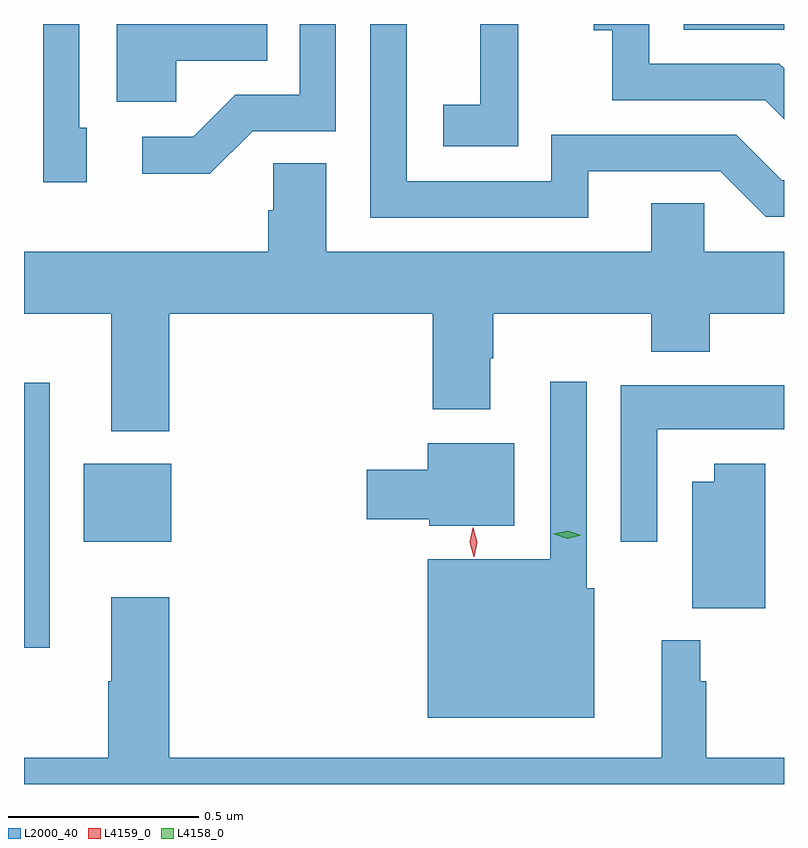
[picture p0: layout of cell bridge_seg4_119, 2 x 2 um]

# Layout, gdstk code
import gdstk
lib = gdstk.Library(unit=1e-6, precision=1e-09)
def R(c, l, rs):  # rectangles x0, y0, x1, y1
    for r in rs: c.add(gdstk.rectangle(r[:2], r[2:], *l))
def P(c, l, *ps):  # polygons
    for p in ps: c.add(gdstk.Polygon(p, *l))
L2000_40 = (2000, 40)
L4158_0 = (4158, 0)
L4159_0 = (4159, 0)

bridge_seg4_119 = lib.new_cell('bridge_seg4_119')
R(bridge_seg4_119, L2000_40, [(353.8,773.298,353.868,773.995), (353.957,773.576,354.187,773.782), (355.536,774.924,355.8,774.939)])
P(bridge_seg4_119, L2000_40, [(355.8,774.822),(355.788,774.834),(355.446,774.834),(355.446,774.939),(355.299,774.939),(355.299,774.923),(355.348,774.923),(355.348,774.738),(355.751,774.738),(355.8,774.689)],
  [(354.201,774.842),(354.44,774.842),(354.44,774.939),(354.044,774.939),(354.044,774.734),(354.201,774.734)],
  [(354.402,774.657),(354.621,774.657),(354.621,774.939),(354.525,774.939),(354.525,774.753),(354.356,774.753),(354.245,774.642),(354.111,774.642),(354.111,774.545),(354.289,774.545)],
  [(355.285,774.552),(355.632,774.552),(355.752,774.432),(355.8,774.432),(355.8,774.528),(355.794,774.528),(355.674,774.648),(355.188,774.648),(355.188,774.525),(354.807,774.525),(354.807,774.939),(354.711,774.939),(354.711,774.429),(355.285,774.429)],
  [(355.101,774.823),(355.1,774.823),(355.1,774.939),(355.001,774.939),(355.001,774.727),(354.903,774.727),(354.903,774.617),(355.101,774.617)],
  [(353.965,774.666),(353.946,774.666),(353.946,774.939),(353.85,774.939),(353.85,774.522),(353.965,774.522)],
  [(354.182,774.176),(354.875,774.176),(354.875,773.925),(355.027,773.925),(355.027,774.059),(355.035,774.059),(355.035,774.176),(355.45,774.176),(355.45,774.077),(355.605,774.077),(355.605,774.176),(355.8,774.176),(355.8,774.34),(355.59,774.34),(355.59,774.467),(355.451,774.467),(355.451,774.34),(354.595,774.34),(354.595,774.572),(354.456,774.572),(354.456,774.449),(354.443,774.449),(354.443,774.34),(353.8,774.34),(353.8,774.176),(354.029,774.176),(354.029,773.867),(354.182,773.867)],
  [(355.3,773.454),(355.281,773.454),(355.281,773.998),(355.185,773.998),(355.185,773.53),(354.863,773.53),(354.863,773.114),(355.3,773.114)],
  [(355.467,773.873),(355.8,773.873),(355.8,773.989),(355.371,773.989),(355.371,773.577),(355.467,773.577)],
  [(355.09,773.836),(354.863,773.836),(354.863,773.766),(354.702,773.766),(354.702,773.636),(354.867,773.636),(354.867,773.618),(355.09,773.618)],
  [(355.75,773.782),(355.616,773.782),(355.616,773.734),(355.559,773.734),(355.559,773.402),(355.75,773.402)],
  [(355.8,773.008),(355.595,773.008),(355.595,773.21),(355.58,773.21),(355.58,773.317),(355.478,773.317),(355.478,773.008),(354.182,773.008),(354.182,773.431),(354.029,773.431),(354.029,773.21),(354.022,773.21),(354.022,773.008),(353.8,773.008),(353.8,772.939),(355.8,772.939)])
P(bridge_seg4_119, L4158_0, [(355.23,773.585),(355.194,773.596),(355.194,773.597),(355.194,773.597),(355.231,773.605),(355.266,773.594),(355.266,773.593),(355.266,773.593)])
P(bridge_seg4_119, L4159_0, [(354.984,773.537),(354.984,773.537),(354.973,773.575),(354.981,773.613),(354.982,773.613),(354.982,773.613),(354.993,773.575),(354.985,773.537)])

lib.write_gds('bridge_seg4_119.gds')
